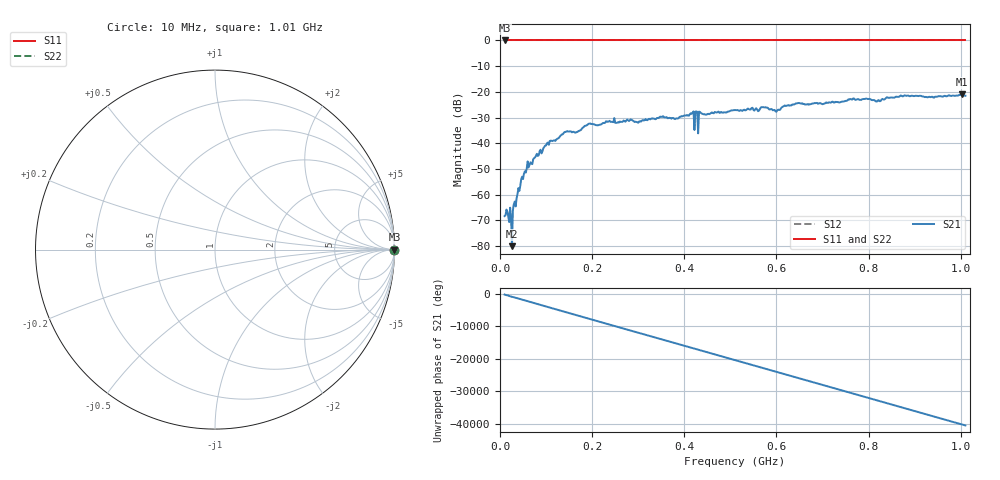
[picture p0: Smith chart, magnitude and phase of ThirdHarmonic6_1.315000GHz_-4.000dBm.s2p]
! 8/16/2025 2:34:20 PM
! C:\ANRITSUVNA\TEMP\TEMP.S2P
! CHANNEL.1
! TR.MEASUREMENT
! RAW.DATA
! RF.CORRECTION.OFF
! AVERAGING.OFF
! IF.BANDWIDTH: 5KHZ
! SWEEPTYPE:  FREQ.SWEEP(Linear)
! Reference Plane Port Info
! PORT:  PORT1  PORT2
! DISTANCE:  0  m  0  m
! TIME:  0  s  0  s
! PHASE.OFFSET:  0  deg.  0  deg.
! LOSS:  0  dB  0  dB
! REF.LOSS:  0  dB  0  dB
! REF.FREQ:  0  Hz  0  Hz
! Power Info
! POWER:  -20  dBm  -20  dBm
! EFF.POWER:  -20  dBm  -20  dBm
! SOURCE.ATTEN:  0  dB  0  dB
! TEST.ATTEN:  0  dB  0  dB
# GHZ S RI R 50.0
! FREQ.GHZ  S11RE  S11IM  S21RE  S21IM  S12RE  S12IM  S22RE  S22IM
!; PortSelection: Port_12
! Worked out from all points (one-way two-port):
!   501 points, 10 MHz to 1.01 GHz, reference 50 ohm
!   highest |S21| = -20.98 dB at 1.002 GHz (marker M1); lowest = -80.0 dB at 26 MHz (marker M2)
!   lowest |S11| = 0.0 dB at 10 MHz (marker M3)
!   |S11| at or under -10 dB: nowhere
!   |S22| runs from 0.0 to 0.0 dB; largest |S21 - S12| = 1.1
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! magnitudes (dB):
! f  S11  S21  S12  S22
! 10 MHz  0.0  -68.3  0.0  0.0
! 18 MHz  0.0  -68.4  0.0  0.0
! 22 MHz  0.0  -65.0  0.0  0.0
! 26 MHz  0.0  -80.0  0.0  0.0
! 30 MHz  0.0  -63.7  0.0  0.0
! 32 MHz  0.0  -62.7  0.0  0.0
! 44 MHz  0.0  -56.6  0.0  0.0
! 62 MHz  0.0  -49.4  0.0  0.0
! 106 MHz  0.0  -40.6  0.0  0.0
! 142 MHz  0.0  -35.6  0.0  0.0
! 178 MHz  0.0  -34.2  0.0  0.0
! 196 MHz  0.0  -32.3  0.0  0.0
! 344 MHz  0.0  -30.2  0.0  0.0
! 416 MHz  0.0  -28.5  0.0  0.0
! 426 MHz  0.0  -27.6  0.0  0.0
! 436 MHz  0.0  -28.2  0.0  0.0
! 510 MHz  0.0  -27.1  0.0  0.0
! 602 MHz  0.0  -27.1  0.0  0.0
! 678 MHz  0.0  -24.5  0.0  0.0
! 844 MHz  0.0  -22.3  0.0  0.0
! 1.002 GHz  0.0  -21.0  0.0  0.0
! 1.01 GHz  0.0  -21.5  0.0  0.0
